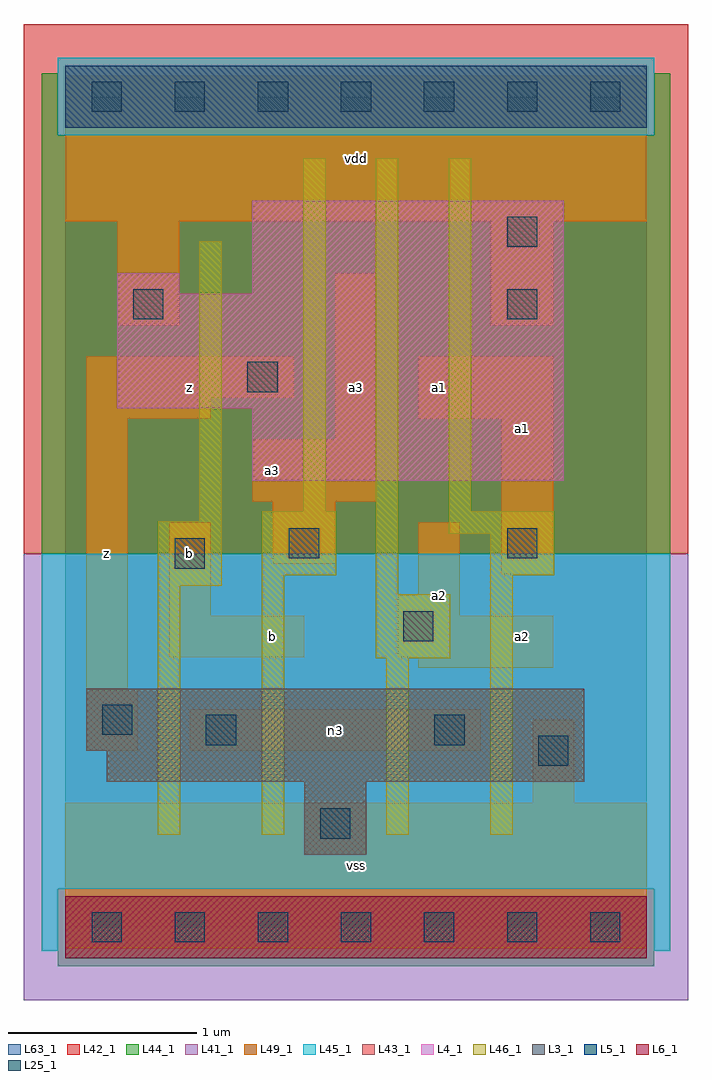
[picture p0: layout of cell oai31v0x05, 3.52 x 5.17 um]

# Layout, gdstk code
import gdstk
lib = gdstk.Library(unit=1e-6, precision=1e-09)
def R(c, l, rs):  # rectangles x0, y0, x1, y1
    for r in rs: c.add(gdstk.rectangle(r[:2], r[2:], *l))
def A(c, l, x, y, w, h, nx, ny, dx, dy):  # array of equal rectangles
    R(c, l, [(x+i*dx, y+j*dy, x+i*dx+w, y+j*dy+h) for i in range(nx) for j in range(ny)])
L3_1 = (3, 1)
L4_1 = (4, 1)
L5_1 = (5, 1)
L6_1 = (6, 1)
L25_1 = (25, 1)
L41_1 = (41, 1)
L42_1 = (42, 1)
L43_1 = (43, 1)
L44_1 = (44, 1)
L45_1 = (45, 1)
L46_1 = (46, 1)
L49_1 = (49, 1)
L63_1 = (63, 1)

oai31v0x05 = lib.new_cell('oai31v0x05')
R(oai31v0x05, L3_1, [(1.265,0.385,1.595,0.77), (0.22,0.77,2.75,0.935), (0.11,0.935,2.75,1.265)])
R(oai31v0x05, L4_1, [(0.99,2.365,2.64,2.75), (0.275,2.75,2.64,3.355), (0.275,3.355,0.605,3.465), (0.99,3.355,2.64,3.85)])
R(oai31v0x05, L5_1, [(0,4.235,3.08,4.565)])
R(oai31v0x05, L6_1, [(0,-0.165,3.08,0.165)])
A(oai31v0x05, L25_1, 0.14, -0.08, 0.16, 0.16, 7, 2, 0.44, 4.4)
R(oai31v0x05, L25_1, [(1.35,0.47,1.51,0.63), (2.505,0.855,2.665,1.015), (0.745,0.965,0.905,1.125), (1.955,0.965,2.115,1.125), (0.195,1.02,0.355,1.18), (1.79,1.515,1.95,1.675), (0.58,1.9,0.74,2.06), (1.185,1.955,1.345,2.115), (2.34,1.955,2.5,2.115), (0.965,2.835,1.125,2.995), (0.36,3.22,0.52,3.38), (2.34,3.22,2.5,3.38), (2.34,3.605,2.5,3.765)])
R(oai31v0x05, L41_1, [(-0.22,-0.385,3.3,1.98)])
R(oai31v0x05, L42_1, [(-0.22,1.98,3.3,4.785)])
R(oai31v0x05, L43_1, [(0,-0.165,3.08,0.165), (1.265,0.385,1.595,0.77), (0.22,0.77,2.75,0.935), (0.11,0.935,2.75,1.265), (0.99,2.365,2.64,2.75), (0.275,2.75,2.64,3.355), (0.275,3.355,0.605,3.465), (0.99,3.355,2.64,3.85), (0,4.235,3.08,4.565)])
R(oai31v0x05, L44_1, [(-0.04,-0.205,3.12,0.205), (-0.125,1.98,3.205,4.195), (-0.125,4.195,-0.04,4.525), (3.12,4.195,3.205,4.525)])
R(oai31v0x05, L45_1, [(-0.125,-0.125,-0.04,0.205), (3.12,-0.125,3.205,0.205), (-0.125,0.205,3.205,1.98), (-0.04,4.195,3.12,4.605)])
R(oai31v0x05, L46_1, [(0.49,0.49,0.61,1.81), (1.04,0.49,1.16,1.865), (1.7,0.49,1.82,1.425), (2.25,0.49,2.37,1.865), (1.645,1.425,2.04,1.765), (1.645,1.765,1.765,4.075), (0.49,1.81,0.83,2.15), (1.04,1.865,1.435,2.205), (2.25,1.865,2.59,2.085), (2.03,2.085,2.59,2.205), (0.71,2.15,0.83,3.635), (1.26,2.205,1.38,4.075), (2.03,2.205,2.15,4.075)])
R(oai31v0x05, L49_1, [(0,-0.11,3.08,0.66), (2.475,0.66,2.695,1.1), (0.11,0.935,0.385,1.265), (0.66,0.935,2.2,1.155), (0.11,1.265,0.33,2.695), (1.87,1.375,2.585,1.43), (0.55,1.43,1.265,1.65), (1.76,1.43,2.585,1.65), (0.55,1.65,0.77,2.145), (1.76,1.65,2.09,1.76), (1.87,1.76,2.09,2.145), (2.31,1.87,2.585,2.695), (1.1,1.925,1.43,2.255), (0.99,2.255,1.65,2.585), (1.43,2.585,1.65,3.465), (0.11,2.695,0.77,2.805), (1.87,2.695,2.585,3.025), (0.11,2.805,1.21,3.025), (0.275,3.19,0.605,3.74), (2.255,3.19,2.585,3.74), (0,3.74,3.08,4.51)])
R(oai31v0x05, L63_1, [(0,0,3.08,4.4)])
oai31v0x05.add(gdstk.Label('z', (0.22,1.98), layer=49, texttype=1))
oai31v0x05.add(gdstk.Label('b', (0.66,1.98), layer=49, texttype=1))
oai31v0x05.add(gdstk.Label('b', (1.1,1.54), layer=49, texttype=1))
oai31v0x05.add(gdstk.Label('a3', (1.1,2.42), layer=49, texttype=1))
oai31v0x05.add(gdstk.Label('z', (0.66,2.86), layer=49, texttype=1))
oai31v0x05.add(gdstk.Label('vss', (1.54,0.33), layer=49, texttype=1))
oai31v0x05.add(gdstk.Label('n3', (1.43,1.045), layer=49, texttype=1))
oai31v0x05.add(gdstk.Label('a2', (1.98,1.76), layer=49, texttype=1))
oai31v0x05.add(gdstk.Label('a3', (1.54,2.86), layer=49, texttype=1))
oai31v0x05.add(gdstk.Label('a1', (1.98,2.86), layer=49, texttype=1))
oai31v0x05.add(gdstk.Label('vdd', (1.54,4.07), layer=49, texttype=1))
oai31v0x05.add(gdstk.Label('a2', (2.42,1.54), layer=49, texttype=1))
oai31v0x05.add(gdstk.Label('a1', (2.42,2.64), layer=49, texttype=1))

lib.write_gds('oai31v0x05.gds')
